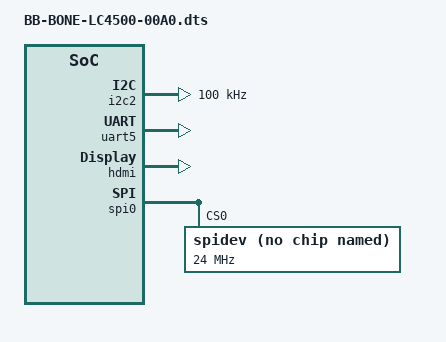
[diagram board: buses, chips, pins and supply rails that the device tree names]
/dts-v1/;
/plugin/;

/* I2C2 */

/ {
    compatible = "ti,beaglebone", "ti,beaglebone-black";

    /* identification */
    part-number = "BB-BONE-LC4500";
    version ="00A0";

    exclusive-use =
    "P9.20",
    "P9.19",
    "i2c2";

    fragment@0 
    {
        target = <&am33xx_pinmux>;
        __overlay__ 
        {
           i2c2_pins: pinmux_i2c2_pins 
           {
              pintctrl-single,pins = <
                 0x178 0x73// spi0_d1.i2c2_sda,  SLEWCTRL_SLOW | IMPUT_PULLUP | MODE3
                 0x17C 0x73// spi0_cs0.i2c2_scl,  SLEWCTRL_SLOW | IMPUT_PULLUP | MODE3
                >;
           };

            pinctrl_uart5: pinctrl_uart5_pins 
            {
                pinctrl-single,pins = <                                        
                    0x070 0x26/* P9_11 = GPIO0_30 = GPMC_WAIT0 , MODE6 */
                    0x074 0x06  /* P9_13 = GPIO0_31 = GPMC_WPN, MODE6 */
                    >;
            };

            pinctrl_gpio: gpio_pins 
            {
                pinctrl-single,pins = <
                    0x194 0x57/* spi1_d0 = GPIO3_15, SLEW_CTRL_SLOW, OUTPUT, MODE 7 */
                    >;
            };

           spi0_pins_s0: pinmux_spi0_pins_s0 
           {
                pinctrl-single,pins = <
                    0x150 0x33  /* spi0_sclk, INPUT_PULLUP | MODE3 */
                    0x154 0x33  /* spi0_d0, INPUT_PULLUP | MODE3 */
                    0x158 0x13  /* spi0_d1, OUTPUT_PULLUP | MODE3 */
                    0x15c 0x13/* spi0_cs0, OUTPUT_PULLUP | MODE3 */
                    /* NOTE: on BBB, SPI0-CS1 pin is used by mmcp_cd */
                    >;
            };

            bone_lcd7_cape_lcd_pins: pinmux_bone_lcd7_cape_lcd_pins 
            {
                pinctrl-single,pins = <
                    0x1b0 0x03  /* xdma_event_intr0, OMAP_MUX_MODE3 | AM33XX_PIN_OUTPUT */

                    0xa0 0x08   /* lcd_data0.lcd_data0, OMAP_MUX_MODE0 | AM33XX_PIN_OUTPUT | AM33XX_PULL_DISA */
                    0xa4 0x08   /* lcd_data1.lcd_data1, OMAP_MUX_MODE0 | AM33XX_PIN_OUTPUT | AM33XX_PULL_DISA */
                    0xa8 0x08   /* lcd_data2.lcd_data2, OMAP_MUX_MODE0 | AM33XX_PIN_OUTPUT | AM33XX_PULL_DISA */
                    0xac 0x08   /* lcd_data3.lcd_data3, OMAP_MUX_MODE0 | AM33XX_PIN_OUTPUT | AM33XX_PULL_DISA */
                    0xb0 0x08   /* lcd_data4.lcd_data4, OMAP_MUX_MODE0 | AM33XX_PIN_OUTPUT | AM33XX_PULL_DISA */
                    0xb4 0x08   /* lcd_data5.lcd_data5, OMAP_MUX_MODE0 | AM33XX_PIN_OUTPUT | AM33XX_PULL_DISA */
                    0xb8 0x08   /* lcd_data6.lcd_data6, OMAP_MUX_MODE0 | AM33XX_PIN_OUTPUT | AM33XX_PULL_DISA */
                    0xbc 0x08   /* lcd_data7.lcd_data7, OMAP_MUX_MODE0 | AM33XX_PIN_OUTPUT | AM33XX_PULL_DISA */
                    0xc0 0x08   /* lcd_data8.lcd_data8, OMAP_MUX_MODE0 | AM33XX_PIN_OUTPUT | AM33XX_PULL_DISA */
                    0xc4 0x08   /* lcd_data9.lcd_data9, OMAP_MUX_MODE0 | AM33XX_PIN_OUTPUT | AM33XX_PULL_DISA */
                    0xc8 0x08   /* lcd_data10.lcd_data10, OMAP_MUX_MODE0 | AM33XX_PIN_OUTPUT | AM33XX_PULL_DISA */
                    0xcc 0x08   /* lcd_data11.lcd_data11, OMAP_MUX_MODE0 | AM33XX_PIN_OUTPUT | AM33XX_PULL_DISA */
                    0xd0 0x08   /* lcd_data12.lcd_data12, OMAP_MUX_MODE0 | AM33XX_PIN_OUTPUT | AM33XX_PULL_DISA */
                    0xd4 0x08   /* lcd_data13.lcd_data13, OMAP_MUX_MODE0 | AM33XX_PIN_OUTPUT | AM33XX_PULL_DISA */
                    0xd8 0x08   /* lcd_data14.lcd_data14, OMAP_MUX_MODE0 | AM33XX_PIN_OUTPUT | AM33XX_PULL_DISA */
                    0xdc 0x08   /* lcd_data15.lcd_data15, OMAP_MUX_MODE0 | AM33XX_PIN_OUTPUT | AM33XX_PULL_DISA */
                    0x3c 0x09     /* lcd_data16.lcd_data16, OMAP_MUX_MODE1 | AM33XX_PIN_OUTPUT | AM33XX_PULL_DISA */
                    0x38 0x09     /* lcd_data17.lcd_data17, OMAP_MUX_MODE1 | AM33XX_PIN_OUTPUT | AM33XX_PULL_DISA */
                    0x34 0x09     /* lcd_data18.lcd_data18, OMAP_MUX_MODE1 | AM33XX_PIN_OUTPUT | AM33XX_PULL_DISA */
                    0x30 0x09     /* lcd_data19.lcd_data19, OMAP_MUX_MODE1 | AM33XX_PIN_OUTPUT | AM33XX_PULL_DISA */
                    0x2c 0x09     /* lcd_data20.lcd_data20, OMAP_MUX_MODE1 | AM33XX_PIN_OUTPUT | AM33XX_PULL_DISA */
                    0x28 0x09     /* lcd_data21.lcd_data21, OMAP_MUX_MODE1 | AM33XX_PIN_OUTPUT | AM33XX_PULL_DISA */
                    0x24 0x09     /* lcd_data22.lcd_data22, OMAP_MUX_MODE1 | AM33XX_PIN_OUTPUT | AM33XX_PULL_DISA */
                    0x20 0x09     /* lcd_data23.lcd_data23, OMAP_MUX_MODE1 | AM33XX_PIN_OUTPUT | AM33XX_PULL_DISA */
                    0xe0 0x00   /* lcd_vsync.lcd_vsync, OMAP_MUX_MODE0 | AM33XX_PIN_OUTPUT */
                    0xe4 0x00   /* lcd_hsync.lcd_hsync, OMAP_MUX_MODE0 | AM33XX_PIN_OUTPUT */
                    0xe8 0x00   /* lcd_pclk.lcd_pclk, OMAP_MUX_MODE0 | AM33XX_PIN_OUTPUT */
                    0xec 0x00   /* lcd_ac_bias_en.lcd_ac_bias_en, OMAP_MUX_MODE0 | AM33XX_PIN_OUTPUT */
                >;
            };
        };
    };


    fragment@1 
    {
        target = <&i2c2>;
        __overlay__ 
        {
           #address-cells = <1>;
           #size-cells = <0>;
           status = "okay";
           pinctrl-names = "default";
           pinctrl-0 = <&i2c2_pins>;
    
            clock-frequency = <100000>;
        };
    };


    fragment@2 
    {
        target = <&uart5>;
        __overlay__ 
        {
            status      = "okay";
            pinctrl-names = "default";
            pinctrl-0 = <&pinctrl_uart5>;
        };
    };

    fragment@3 
    {
        target = <&ocp>;
        __overlay__ 
        {
            gpio_helper: helper 
            {
                compatible = "bone-pinmux-helper";
                pinctrl-names = "default";
                pinctrl-0 = <&pinctrl_gpio>;
                status = "okay";
            };
        };
    };

    fragment@4 
    {
        target = <&spi0>;
        __overlay__ 
        {
        #address-cells = <1>;
             #size-cells = <0>;
             status = "okay";
             pinctrl-names = "default";
             pinctrl-0 = <&spi0_pins_s0>;

             spidev@0 
             {
                 spi-max-frequency = <24000000>;
                 reg = <0>;
                 compatible = "linux,spidev";
            };
        };
    };

    fragment@5 
    {
        target = <&ocp>;
        __overlay__ 
        {
            /* avoid stupid warning */
            #address-cells = <1>;
            #size-cells = <1>;

            /* Settings for ThreeFive S9700RTWV35TR / LCD7 cape: */
            /* This is required for DRM driver */
            hdmi 
            {
                compatible = "tilcdc,panel";
                pinctrl-names = "default";
                pinctrl-0 = <&bone_lcd7_cape_lcd_pins>;
                panel-info 
                {
                    ac-bias           = <255>;
                    ac-bias-intrpt    = <0>;
                    dma-burst-sz      = <16>;
                    bpp               = <32>;  
                    fdd               = <16>;
                    sync-edge         = <1>;
                    sync-ctrl         = <1>;
                    raster-order      = <0>;
                    fifo-th           = <0>;
                    invert-pxl-clk;
                };
 
                display-timings 
                {
                    native-mode = <&timing04>;

                    timing00: 912x1140@100 
                    {
                        hactive         = <912>;
                        vactive         = <1140>;
                        hfront-porch    = <16>;
                        hsync-len       = <128>;
                        hback-porch     = <16>;
                        vfront-porch    = <0>;
                        vsync-len       = <17>;
                        vback-porch     = <3>;
                        clock-frequency = <124900000>;
                        hsync-active    = <1>;
                        vsync-active    = <0>;
                        bpp             = <32>;
                    };

                    timing01: 912x1140@95 
                    {
                        hactive         = <912>;
                        vactive         = <1140>;
                        hfront-porch    = <48>;
                        hsync-len       = <32>;
                        hback-porch     = <80>;
                        vfront-porch    = <3>;
                        vsync-len       = <10>;
                        vback-porch     = <40>;
                        clock-frequency = <121250000>;
                        hsync-active    = <1>;
                        vsync-active    = <0>;
                        bpp             = <32>;
                    };

                    timing02: 912x1140@70 
                    {
                        hactive         = <912>;
                        vactive         = <1140>;
                        hfront-porch    = <48>;
                        hsync-len       = <32>;
                        hback-porch     = <80>;
                        vfront-porch    = <3>;
                        vsync-len       = <10>;
                        vback-porch     = <25>;
                        clock-frequency = <88250000>;
                        hsync-active    = <1>;
                        vsync-active    = <0>;
                        bpp             = <32>;
                    };

                    timing03: 912x1140@65 
                    {
                        hactive         = <912>;
                        vactive         = <1140>;
                        hfront-porch    = <48>;
                        hsync-len       = <32>;
                        hback-porch     = <80>;
                        vfront-porch    = <3>;
                        vsync-len       = <10>;
                        vback-porch     = <23>;
                        clock-frequency = <81750000>;
                        hsync-active    = <1>;
                        vsync-active    = <0>;
                        bpp             = <32>;
                    };

                    timing04: 912x1140@60 
                    {
                        hactive         = <912>;
                        vactive         = <1140>;
                        hfront-porch    = <53>;
                        hsync-len       = <76>;
                        hback-porch     = <115>;
                        vfront-porch    = <1>;
                        vsync-len       = <3>;
                        vback-porch     = <38>;
                        clock-frequency = <82000000>;
                        hsync-active    = <1>;
                        vsync-active    = <0>;
                        bpp             = <32>;
                    };

                    timing05: 912x1140@53 
                    {
                        hactive         = <912>;
                        vactive         = <1140>;
                        hfront-porch    = <56>;
                        hsync-len       = <96>;
                        hback-porch     = <152>;
                        vfront-porch    = <3>;
                        vsync-len       = <10>;
                        vback-porch     = <25>;
                        clock-frequency = <75750000>;
                        hsync-active    = <1>;
                        vsync-active    = <0>;
                        bpp             = <32>;
                    };

                    timing06: 912x1140@50 
                    {
                        hactive         = <912>;
                        vactive         = <1140>;
                        hfront-porch    = <48>;
                        hsync-len       = <96>;
                        hback-porch     = <144>;
                        vfront-porch    = <3>;
                        vsync-len       = <10>;
                        vback-porch     = <23>;
                        clock-frequency = <70500000>;
                        hsync-active    = <1>;
                        vsync-active    = <0>;
                        bpp             = <32>;
                    };

                    timing07: 912x1140@36 
                    {
                        hactive         = <912>;
                        vactive         = <1140>;
                        hfront-porch    = <40>;
                        hsync-len       = <88>;
                        hback-porch     = <128>;
                        vfront-porch    = <3>;
                        vsync-len       = <10>;
                        vback-porch     = <14>;
                        clock-frequency = <49000000>;
                        hsync-active    = <1>;
                        vsync-active    = <0>;
                        bpp             = <32>;
                    };

                    timing08: 912x1140@30 
                    {
                        hactive         = <912>;
                        vactive         = <1140>;
                        hfront-porch    = <32>;
                        hsync-len       = <88>;
                        hback-porch     = <120>;
                        vfront-porch    = <3>;
                        vsync-len       = <10>;
                        vback-porch     = <10>;
                        clock-frequency = <40000000>;
                        hsync-active    = <1>;
                        vsync-active    = <0>;
                        bpp             = <32>;
                    };

                    timing09: 912x1140@24 
                    {
                        hactive         = <912>;
                        vactive         = <1140>;
                        hfront-porch    = <24>;
                        hsync-len       = <88>;
                        hback-porch     = <112>;
                        vfront-porch    = <3>;
                        vsync-len       = <10>;
                        vback-porch     = <6>;
                        clock-frequency = <31500000>;
                        hsync-active    = <1>;
                        vsync-active    = <0>;
                        bpp             = <32>;
                    };

                    timing10: 912x1140@16 
                    {
                        hactive         = <912>;
                        vactive         = <1140>;
                        hfront-porch    = <24>;
                        hsync-len       = <88>;
                        hback-porch     = <112>;
                        vfront-porch    = <3>;
                        vsync-len       = <10>;
                        vback-porch     = <6>;
                        clock-frequency = <20750000>;
                        hsync-active    = <1>;
                        vsync-active    = <0>;
                        bpp             = <32>;
                    };

                    timing11: 912x1140@12 
                    {
                        hactive         = <912>;
                        vactive         = <1140>;
                        hfront-porch    = <24>;
                        hsync-len       = <88>;
                        hback-porch     = <112>;
                        vfront-porch    = <3>;
                        vsync-len       = <10>;
                        vback-porch     = <6>;
                        clock-frequency = <16000000>;
                        hsync-active    = <1>;
                        vsync-active    = <0>;
                        bpp             = <32>;
                    };

                    timing12: 912x912@120 
                    {
                        hactive         = <912>;
                        vactive         = <912>;
                        hfront-porch    = <48>;
                        hsync-len       = <32>;
                        hback-porch     = <80>;
                        vfront-porch    = <3>;
                        vsync-len       = <10>;
                        vback-porch     = <41>;
                        clock-frequency = <124250000>;
                        hsync-active    = <1>;
                        vsync-active    = <0>;
                        bpp             = <32>;
                    };

                    timing13: 1280x800@60 
                    {
                        hactive         = <1280>;
                        vactive         = <800>;
                        hfront-porch    = <64>;
                        hsync-len       = <136>;
                        hback-porch     = <240>;
                        vfront-porch    = <1>;
                        vsync-len       = <3>;
                        vback-porch     = <24>;
                        clock-frequency = <83500000>;
                        hsync-active    = <0>;
                        vsync-active    = <0>;
                    };

                };
            };

            fb  
            {
                compatible = "ti,am33xx-tilcdc";
                reg = <0x4830e000 0x1000>; 
                interrupt-parent = <&intc>;
                interrupts = <36>;
                ti,hwmods = "lcdc";
            /*    ti,power-gpio = <&gpio1 2 0x0>; */
                ti,allow-non-reduced-blanking-modes;
                ti,allow-non-audio-modes; 
                bgrx_24bpp;
            };
        };
    };
};
